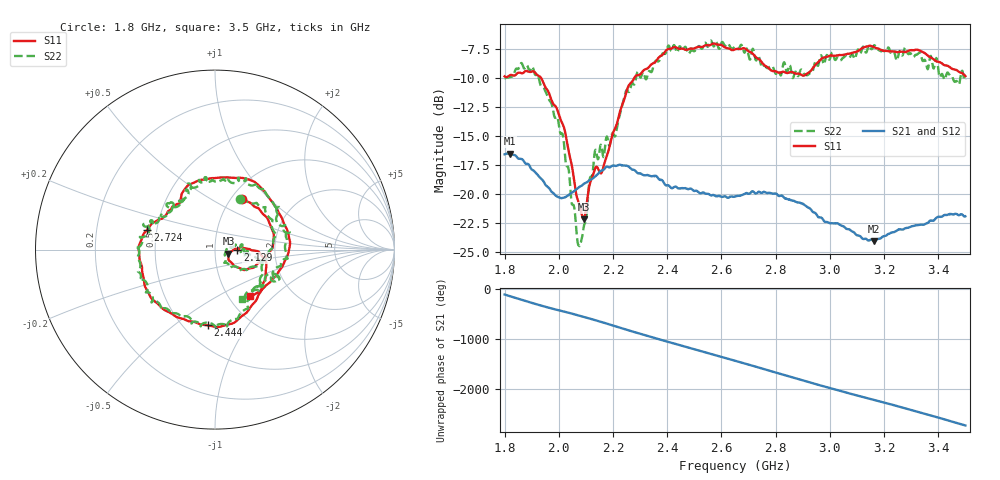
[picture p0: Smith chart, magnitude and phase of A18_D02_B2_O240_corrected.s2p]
! Created with skrf 1.9.0 (http://scikit-rf.org).
# Hz S RI R 50.0
!freq ReS11 ImS11 ReS21 ImS21 ReS12 ImS12 ReS22 ImS22
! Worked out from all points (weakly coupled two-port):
!   1601 points, 1.8 GHz to 3.5 GHz, reference 50 ohm
!   highest |S21| = -16.49 dB at 1.819 GHz (marker M1); lowest = -24.0 dB at 3.163 GHz (marker M2)
!   lowest |S11| = -22.2 dB at 2.091 GHz (marker M3), VSWR 1.17, Z = 58 - j2.62 ohm
!   |S11| at or under -10 dB: 1.935 GHz to 2.278 GHz (342.2 MHz wide, 16.2 % of centre)
!   |S22| runs from -24.5 to -6.7 dB; largest |S21 - S12| = 0.0025
!   S11 on the Smith chart (normalised r, x): 1.8 GHz: 1.12, +0.71; 2.129 GHz: 1.28, -0.01; 2.444 GHz: 0.65, -0.67; 2.724 GHz: 0.44, +0.12; 3.5 GHz: 1.26, -0.72
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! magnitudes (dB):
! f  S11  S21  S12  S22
! 1.8 GHz  -9.8  -16.6  -16.6  -10.0
! 1.819 GHz  -9.7  -16.5  -16.5  -9.9
! 1.902 GHz  -9.4  -17.9  -17.9  -9.0
! 1.968 GHz  -11.5  -19.6  -19.7  -12.0
! 2.02 GHz  -14.3  -20.3  -20.3  -15.9
! 2.07 GHz  -20.5  -19.5  -19.5  -24.2
! 2.084 GHz  -21.7  -19.3  -19.2  -23.9
! 2.091 GHz  -22.2  -19.1  -19.2  -22.9
! 2.129 GHz  -18.1  -18.6  -18.6  -17.0
! 2.162 GHz  -17.8  -17.9  -17.8  -16.6
! 2.209 GHz  -14.2  -17.6  -17.5  -14.9
! 2.259 GHz  -10.6  -17.6  -17.6  -11.2
! 2.367 GHz  -8.2  -18.7  -18.6  -8.5
! 2.444 GHz  -7.5  -19.5  -19.5  -7.3
! 2.65 GHz  -7.5  -20.2  -20.2  -7.3
! 2.724 GHz  -8.1  -19.9  -19.9  -8.3
! 2.809 GHz  -9.5  -20.1  -20.0  -9.4
! 2.934 GHz  -9.2  -21.5  -21.4  -9.5
! 3.163 GHz  -7.3  -24.0  -24.0  -7.2
! 3.217 GHz  -7.7  -23.4  -23.4  -7.4
! 3.327 GHz  -7.6  -22.7  -22.6  -7.8
! 3.5 GHz  -9.8  -21.9  -21.9  -10.1
